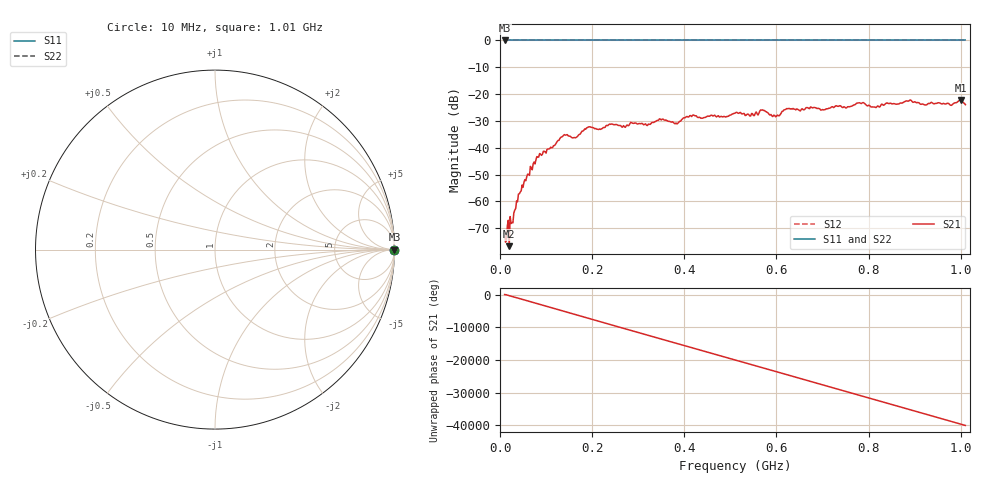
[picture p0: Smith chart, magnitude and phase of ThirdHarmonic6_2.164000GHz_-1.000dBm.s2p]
! 8/17/2025 1:49:47 AM
! C:\ANRITSUVNA\TEMP\TEMP.S2P
! CHANNEL.1
! TR.MEASUREMENT
! RAW.DATA
! RF.CORRECTION.OFF
! AVERAGING.OFF
! IF.BANDWIDTH: 5KHZ
! SWEEPTYPE:  FREQ.SWEEP(Linear)
! Reference Plane Port Info
! PORT:  PORT1  PORT2
! DISTANCE:  0  m  0  m
! TIME:  0  s  0  s
! PHASE.OFFSET:  0  deg.  0  deg.
! LOSS:  0  dB  0  dB
! REF.LOSS:  0  dB  0  dB
! REF.FREQ:  0  Hz  0  Hz
! Power Info
! POWER:  -20  dBm  -20  dBm
! EFF.POWER:  -20  dBm  -20  dBm
! SOURCE.ATTEN:  0  dB  0  dB
! TEST.ATTEN:  0  dB  0  dB
# GHZ S RI R 50.0
! FREQ.GHZ  S11RE  S11IM  S21RE  S21IM  S12RE  S12IM  S22RE  S22IM
!; PortSelection: Port_12
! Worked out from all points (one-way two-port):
!   501 points, 10 MHz to 1.01 GHz, reference 50 ohm
!   highest |S21| = -22.17 dB at 1 GHz (marker M1); lowest = -76.7 dB at 20 MHz (marker M2)
!   lowest |S11| = 0.0 dB at 10 MHz (marker M3)
!   |S11| at or under -10 dB: nowhere
!   |S22| runs from 0.0 to 0.0 dB; largest |S21 - S12| = 1.1
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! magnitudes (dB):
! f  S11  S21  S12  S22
! 10 MHz  0.0  -72.0  0.0  0.0
! 16 MHz  0.0  -69.1  0.0  0.0
! 20 MHz  0.0  -76.7  0.0  0.0
! 24 MHz  0.0  -68.2  0.0  0.0
! 44 MHz  0.0  -56.5  0.0  0.0
! 82 MHz  0.0  -43.5  0.0  0.0
! 136 MHz  0.0  -35.7  0.0  0.0
! 162 MHz  0.0  -36.2  0.0  0.0
! 178 MHz  0.0  -33.8  0.0  0.0
! 344 MHz  0.0  -29.7  0.0  0.0
! 382 MHz  0.0  -30.8  0.0  0.0
! 416 MHz  0.0  -28.4  0.0  0.0
! 510 MHz  0.0  -27.1  0.0  0.0
! 548 MHz  0.0  -27.3  0.0  0.0
! 570 MHz  0.0  -25.9  0.0  0.0
! 602 MHz  0.0  -27.8  0.0  0.0
! 624 MHz  0.0  -25.4  0.0  0.0
! 678 MHz  0.0  -25.1  0.0  0.0
! 844 MHz  0.0  -23.5  0.0  0.0
! 980 MHz  0.0  -24.2  0.0  0.0
! 1 GHz  0.0  -22.2  0.0  0.0
! 1.01 GHz  0.0  -23.9  0.0  0.0
